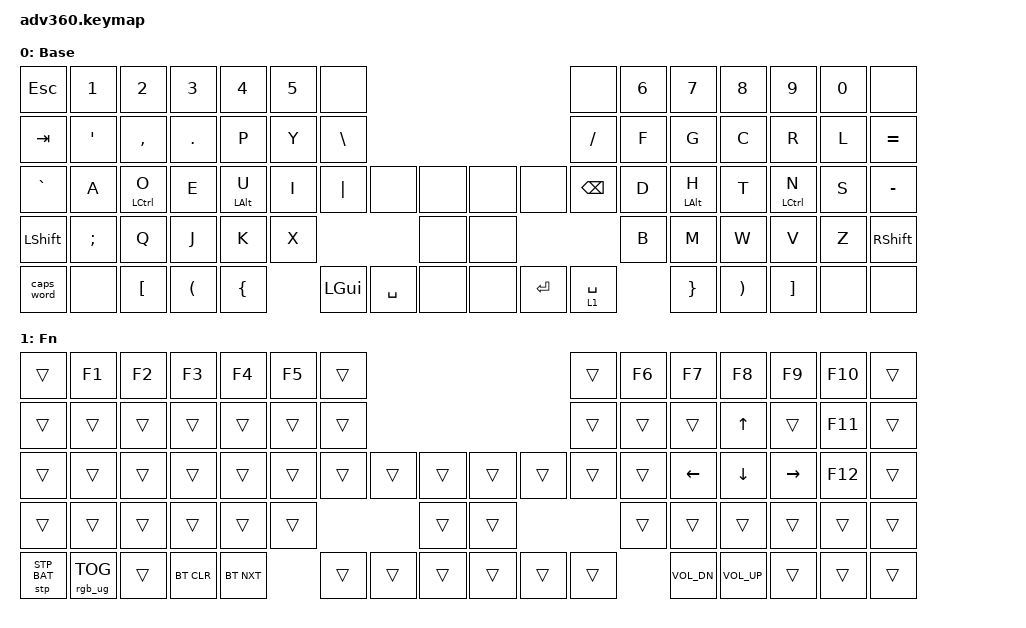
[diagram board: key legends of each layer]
#include <behaviors.dtsi>
#include <dt-bindings/zmk/backlight.h>
#include <dt-bindings/zmk/bt.h>
#include <dt-bindings/zmk/keys.h>
#include <dt-bindings/zmk/rgb.h>
#include <dt-bindings/zmk/stp.h>


/ {
    behaviors {
        #include "macros.dtsi"
      #include "version.dtsi"

        hm: homerow_mods {
            compatible = "zmk,behavior-hold-tap";
            label = "HOMEROW_MODS";
            #binding-cells = <2>;
            tapping-term-ms = <200>;
            quick_tap_ms = <175>;
            flavor = "tap-preferred";
            bindings = <&kp>, <&kp>;
        };
    };

    keymap {
        compatible = "zmk,keymap";

        default_layer {
            display-name = "Base";
            bindings = <
&kp ESCAPE  &kp N1         &kp N2            &kp N3                &kp N4          &kp N5  &none                                                  &none          &kp N6  &kp N7           &kp N8                 &kp N9             &kp N0  &none
&kp TAB     &kp SQT        &kp COMMA         &kp PERIOD            &kp P           &kp Y   &kp BACKSLASH                                          &kp SLASH      &kp F   &kp G            &kp C                  &kp R              &kp L   &kp EQUAL
&kp GRAVE   &kp A          &hm LCTRL O       &kp E                 &hm LEFT_ALT U  &kp I   &kp PIPE       &none      &none      &none  &none      &kp BACKSPACE  &kp D   &hm LEFT_ALT H   &kp T                  &hm LCTRL N        &kp S   &kp MINUS
&kp LSHFT   &kp SEMICOLON  &kp Q             &kp J                 &kp K           &kp X                             &none      &none                            &kp B   &kp M            &kp W                  &kp V              &kp Z   &kp RIGHT_SHIFT
&caps_word  &none          &kp LEFT_BRACKET  &kp LEFT_PARENTHESIS  &kp LEFT_BRACE          &kp LEFT_GUI   &kp SPACE  &none      &none  &kp ENTER  &lt 1 SPACE            &kp RIGHT_BRACE  &kp RIGHT_PARENTHESIS  &kp RIGHT_BRACKET  &none   &none
            >;
        };

        fn {
            display-name = "Fn";
            bindings = <
&trans  &kp F1  &kp F2  &kp F3      &kp F4      &kp F5  &trans                                      &trans  &kp F6  &kp F7        &kp F8           &kp F9     &kp F10  &trans
&trans  &trans  &trans  &trans      &trans      &trans  &trans                                      &trans  &trans  &trans        &kp UP_ARROW     &trans     &kp F11  &trans
&trans  &trans  &trans  &trans      &trans      &trans  &trans  &trans  &trans      &trans  &trans  &trans  &trans  &kp LEFT      &kp DOWN         &kp RIGHT  &kp F12  &trans
&trans  &trans  &trans  &trans      &trans      &trans                  &trans      &trans                  &trans  &trans        &trans           &trans     &trans   &trans
&stp STP_BAT  &rgb_ug RGB_TOG  &trans  &bt BT_CLR  &bt BT_NXT          &trans  &trans  &trans      &trans  &trans  &trans          &kp C_VOL_DN  &kp C_VOLUME_UP  &trans     &trans   &trans
            >;
        };
    };
};
